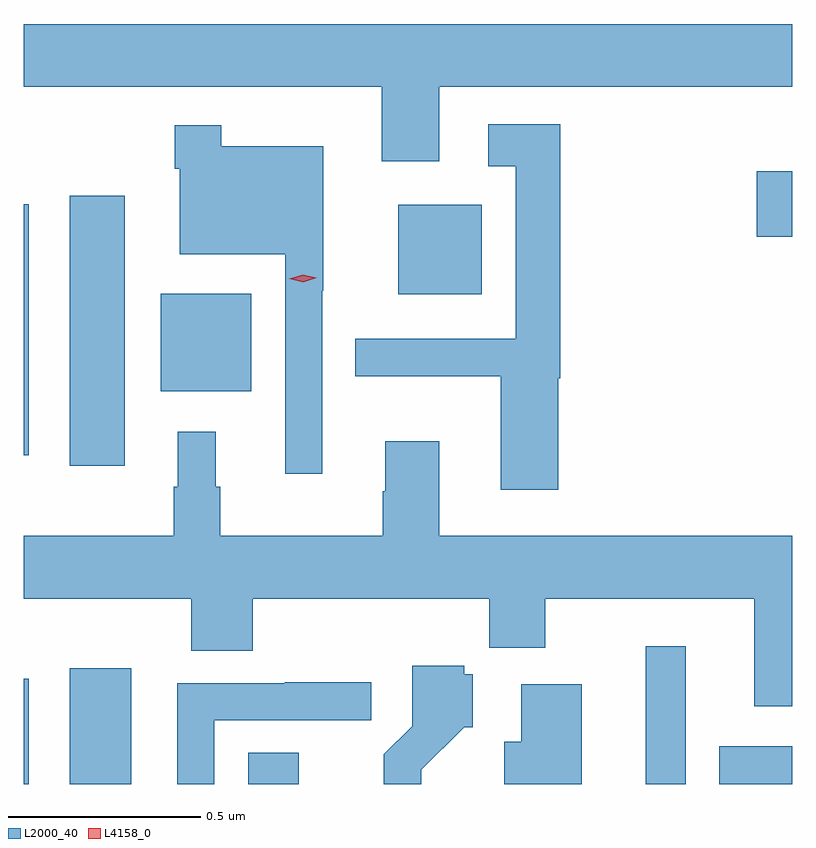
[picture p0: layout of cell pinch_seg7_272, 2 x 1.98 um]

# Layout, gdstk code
import gdstk
lib = gdstk.Library(unit=1e-6, precision=1e-09)
def R(c, l, rs):  # rectangles x0, y0, x1, y1
    for r in rs: c.add(gdstk.rectangle(r[:2], r[2:], *l))
def P(c, l, *ps):  # polygons
    for p in ps: c.add(gdstk.Polygon(p, *l))
L2000_40 = (2000, 40)
L4158_0 = (4158, 0)

pinch_seg7_272 = lib.new_cell('pinch_seg7_272')
R(pinch_seg7_272, L2000_40, [(805.914,1061.405,805.926,1061.679), (806.033,1061.405,806.194,1061.707), (806.498,1061.405,806.629,1061.486), (807.533,1061.405,807.637,1061.764), (807.725,1061.405,807.914,1061.503), (806.033,1062.234,806.176,1062.937), (805.914,1062.261,805.926,1062.915), (806.27,1062.428,806.506,1062.682), (806.888,1062.68,807.106,1062.913), (807.822,1062.83,807.914,1063)])
P(pinch_seg7_272, L2000_40, [(806.995,1063.22),(807.914,1063.22),(807.914,1063.384),(805.914,1063.384),(805.914,1063.22),(806.846,1063.22),(806.846,1063.026),(806.995,1063.026)],
  [(807.305,1062.461),(807.311,1062.461),(807.311,1063.123),(807.123,1063.123),(807.123,1063.013),(807.195,1063.013),(807.195,1062.564),(806.776,1062.564),(806.776,1062.467),(807.155,1062.467),(807.155,1062.171),(807.305,1062.171)],
  [(806.691,1062.689),(806.693,1062.689),(806.693,1063.066),(806.428,1063.066),(806.428,1063.12),(806.307,1063.12),(806.307,1063.007),(806.319,1063.007),(806.319,1062.785),(806.595,1062.785),(806.595,1062.213),(806.691,1062.213)],
  [(807.914,1062.052),(806.995,1062.052),(806.995,1062.298),(806.855,1062.298),(806.855,1062.167),(806.848,1062.167),(806.848,1062.052),(806.425,1062.052),(806.425,1062.179),(806.414,1062.179),(806.414,1062.322),(806.315,1062.322),(806.315,1062.179),(806.304,1062.179),(806.304,1062.052),(805.914,1062.052),(805.914,1061.888),(806.35,1061.888),(806.35,1061.752),(806.51,1061.752),(806.51,1061.888),(807.126,1061.888),(807.126,1061.76),(807.271,1061.76),(807.271,1061.888),(807.815,1061.888),(807.815,1061.607),(807.914,1061.607)],
  [(806.949,1061.442),(807.06,1061.553),(807.082,1061.553),(807.082,1061.691),(807.06,1061.691),(807.06,1061.713),(806.925,1061.713),(806.925,1061.555),(806.851,1061.482),(806.851,1061.405),(806.949,1061.405)],
  [(806.409,1061.571),(806.818,1061.571),(806.818,1061.67),(806.593,1061.67),(806.593,1061.667),(806.313,1061.667),(806.313,1061.405),(806.409,1061.405)],
  [(807.367,1061.665),(807.209,1061.665),(807.209,1061.515),(807.164,1061.515),(807.164,1061.405),(807.367,1061.405)])
P(pinch_seg7_272, L4158_0, [(806.641,1062.711),(806.605,1062.72),(806.605,1062.72),(806.605,1062.72),(806.64,1062.731),(806.677,1062.723),(806.677,1062.723),(806.677,1062.723)])

lib.write_gds('pinch_seg7_272.gds')
